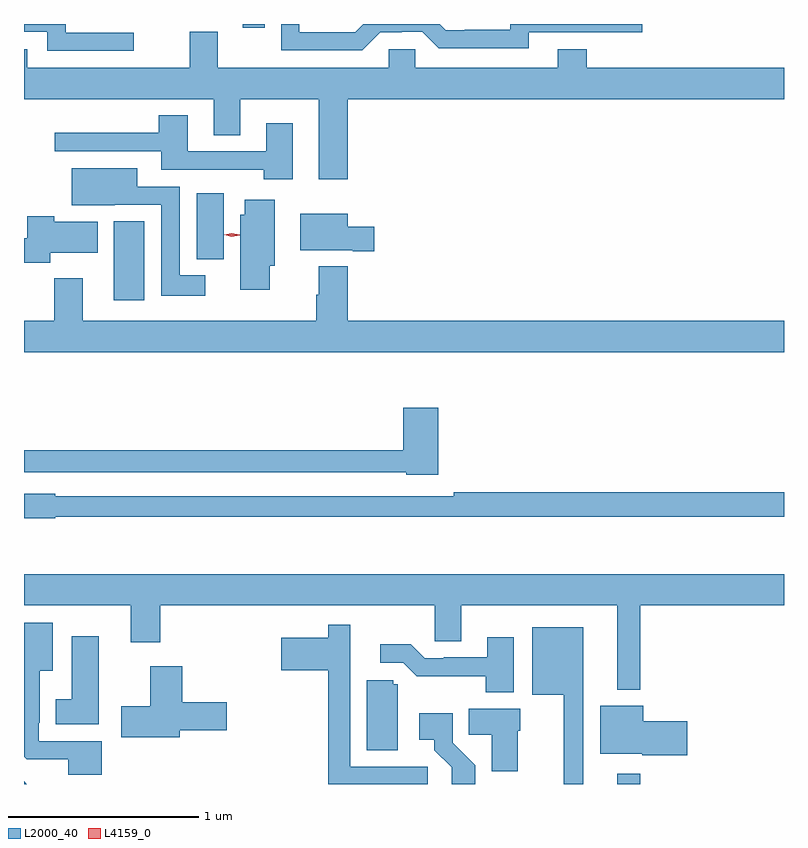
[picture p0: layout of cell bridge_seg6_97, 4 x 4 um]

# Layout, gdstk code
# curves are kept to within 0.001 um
import gdstk
lib = gdstk.Library(unit=1e-6, precision=1e-09)
def R(c, l, rs):  # rectangles x0, y0, x1, y1
    for r in rs: c.add(gdstk.rectangle(r[:2], r[2:], *l))
def P(c, l, *ps):  # polygons
    for p in ps: c.add(gdstk.Polygon(p, *l))
L2000_40 = (2000, 40)
L4159_0 = (4159, 0)

bridge_seg6_97 = lib.new_cell('bridge_seg6_97')
R(bridge_seg6_97, L2000_40, [(847.331,945.063,847.453,945.118), (844.682,947.61,844.843,948.025), (845.117,947.825,845.26,948.172), (845.359,949.044,845.477,949.063)])
P(bridge_seg6_97, L2000_40, [(846.084,949.02),(846.197,949.02),(846.197,949.023),(846.306,949.023),(846.393,948.936),(846.865,948.936),(846.865,949.02),(847.462,949.02),(847.462,949.063),(846.768,949.063),(846.768,949.033),(846.529,949.033),(846.529,949.031),(846.428,949.031),(846.396,949.063),(845.995,949.063),(845.952,949.02),(845.658,949.02),(845.658,949.063),(845.562,949.063),(845.562,948.924),(845.988,948.924)],
  [(844.786,949.017),(844.428,949.017),(844.428,949.063),(844.209,949.063),(844.209,949.023),(844.332,949.023),(844.332,948.921),(844.786,948.921)],
  [(845.912,948.668),(848.209,948.668),(848.209,948.832),(847.172,948.832),(847.172,948.931),(847.019,948.931),(847.019,948.832),(846.267,948.832),(846.267,948.93),(846.129,948.93),(846.129,948.832),(845.229,948.832),(845.229,949.022),(845.081,949.022),(845.081,948.832),(844.225,948.832),(844.225,948.93),(844.209,948.93),(844.209,948.668),(845.207,948.668),(845.207,948.478),(845.347,948.478),(845.347,948.668),(845.759,948.668),(845.759,948.246),(845.912,948.246)],
  [(845.623,948.541),(845.483,948.541),(845.483,948.393),(845.071,948.393),(845.071,948.583),(844.919,948.583),(844.919,948.49),(844.371,948.49),(844.371,948.393),(844.931,948.393),(844.931,948.297),(845.471,948.297),(845.471,948.246),(845.623,948.246)],
  [(845.164,947.74),(845.028,947.74),(845.028,948.207),(844.804,948.207),(844.804,948.304),(844.46,948.304),(844.46,948.11),(844.686,948.11),(844.686,948.111),(844.932,948.111),(844.932,947.633),(845.164,947.633)],
  [(845.503,947.79),(845.53,947.79),(845.53,948.139),(845.372,948.139),(845.372,948.06),(845.348,948.06),(845.348,947.664),(845.503,947.664)],
  [(846.052,947.995),(845.914,947.995),(845.914,948.064),(845.663,948.064),(845.663,947.873),(845.939,947.873),(845.939,947.866),(846.052,947.866)],
  [(844.348,947.858),(844.597,947.858),(844.597,948.022),(844.368,948.022),(844.368,948.052),(844.226,948.052),(844.226,947.936),(844.209,947.936),(844.209,947.806),(844.348,947.806)],
  [(848.209,947.5),(845.912,947.5),(845.912,947.788),(845.759,947.788),(845.759,947.639),(845.747,947.639),(845.747,947.5),(844.519,947.5),(844.519,947.725),(844.367,947.725),(844.367,947.5),(844.209,947.5),(844.209,947.336),(848.209,947.336)],
  [(846.389,947.044),(846.206,947.044),(846.206,946.82),(844.209,946.82),(844.209,946.704),(846.222,946.704),(846.222,946.691),(846.389,946.691)],
  [(844.374,946.47),(848.209,946.47),(848.209,946.598),(846.472,946.598),(846.472,946.578),(844.374,946.578),(844.374,946.591),(844.209,946.591),(844.209,946.462),(844.374,946.462)],
  [(847.453,946.004),(848.209,946.004),(848.209,946.168),(844.209,946.168),(844.209,946.004),(844.772,946.004),(844.772,945.81),(844.925,945.81),(844.925,946.004),(846.372,946.004),(846.372,945.814),(846.511,945.814),(846.511,946.004),(847.331,946.004),(847.331,945.56),(847.453,945.56)],
  [(844.618,945.288),(844.287,945.288),(844.287,945.385),(844.291,945.385),(844.291,945.659),(844.36,945.659),(844.36,945.913),(844.209,945.913),(844.209,945.207),(844.224,945.192),(844.442,945.192),(844.442,945.113),(844.618,945.113)],
  [(846.334,945.153),(845.925,945.153),(845.925,945.678),(845.926,945.678),(845.926,945.901),(845.809,945.901),(845.809,945.832),(845.562,945.832),(845.562,945.662),(845.809,945.662),(845.809,945.063),(846.334,945.063)],
  [(847.153,945.889),(846.884,945.889),(846.884,945.533),(847.049,945.533),(847.049,945.063),(847.153,945.063)],
  [(844.603,945.841),(844.46,945.841),(844.46,945.508),(844.376,945.508),(844.376,945.377),(844.603,945.377)],
  [(846.787,945.835),(846.647,945.835),(846.647,945.729),(846.418,945.729),(846.418,945.726),(846.318,945.726),(846.245,945.799),(846.084,945.799),(846.084,945.702),(846.204,945.702),(846.277,945.629),(846.64,945.63),(846.64,945.545),(846.787,945.545)],
  [(845.029,945.347),(845.275,945.347),(845.275,945.494),(845.042,945.494),(845.042,945.682),(844.874,945.682),(844.874,945.471),(844.722,945.471),(844.722,945.308),(845.029,945.308)],
  [(846.175,945.588),(846.153,945.588),(846.153,945.609),(846.014,945.609),(846.014,945.24),(846.175,945.24)],
  [(847.699,945.392),(847.468,945.392),(847.468,945.475),(847.241,945.475),(847.241,945.221),(847.464,945.221),(847.464,945.214),(847.699,945.214)],
  [(846.808,945.342),(846.82,945.342),(846.82,945.46),(846.55,945.46),(846.55,945.322),(846.671,945.322),(846.671,945.131),(846.808,945.131)],
  [(846.584,945.162),(846.465,945.281),(846.465,945.436),(846.288,945.436),(846.288,945.296),(846.368,945.296),(846.368,945.241),(846.459,945.151),(846.459,945.063),(846.584,945.063)],
  [(844.209,945.078),(844.209,945.063),(844.224,945.063)])
P(bridge_seg6_97, L4159_0, [(845.303,947.943),(845.262,947.953),(845.262,947.954),(845.262,947.954),(845.303,947.963),(845.344,947.953),(845.344,947.952),(845.344,947.952)])

lib.write_gds('bridge_seg6_97.gds')
